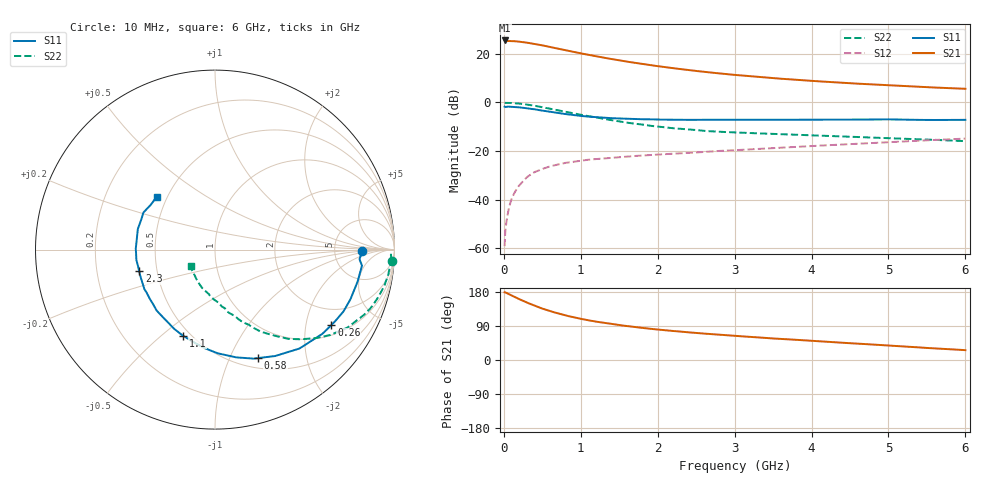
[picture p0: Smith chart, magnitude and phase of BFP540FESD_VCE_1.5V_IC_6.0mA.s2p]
! Infineon Technologies  Discrete & RF Semiconductors
! BFP540FESD
! VCE =  1.5 V,  IC =  6.0 mA
! Common Emitter S-Parameters:  Nov 2015
# GHz  S  MA  R  50
!  f  S11  S21  S12  S22
! GHz  MAG  ANG  MAG  ANG  MAG  ANG  MAG  ANG
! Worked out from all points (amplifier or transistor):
!   210 points, 10 MHz to 6 GHz, reference 50 ohm
!   highest |S21| = 25.5 dB at 10 MHz (marker M1)
!   |S21| within 3 dB of that: start of sweep to 647.4 MHz
!   unconditionally stable (mu >= 1): 2.543 GHz to end of sweep
!   at 185 MHz: K = 0.09, MSG = 29.9 dB, |S12| = -34.8 dB
!   at 1.52 GHz: K = 0.69, MSG = 19.9 dB, |S12| = -22.5 dB
!   at 6 GHz: K = 1.28, MAG = 7.1 dB, |S12| = -14.9 dB
!   S11 on the Smith chart (normalised r, x): 10 MHz: 10, -1; 260 MHz: 1.34, -2.80; 580 MHz: 0.61, -1.28; 1.1 GHz: 0.46, -0.59; 2.3 GHz: 0.40, -0.12; 6 GHz: 0.44, +0.32
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0.01  0.8215 -0.6  18.92 178.7  0.0011 89.3  0.9862 -3.6
0.02  0.8068 -3.8  18.26 178.3  0.0023 86.7  0.9806 -1.6
0.05  0.8238 -6.2  18.46 175.4  0.005 89.0  0.9813 -4.1
0.15  0.8039 -20.0  18.25 165.6  0.0149 80.2  0.9645 -12.2
0.2  0.7944 -25.7  17.84 160.6  0.0196 77.7  0.9474 -16.2
0.26  0.773 -33.0  17.38 155.3  0.0249 74.1  0.9255 -20.7
0.3  0.7603 -38.1  17.07 151.5  0.0289 71.9  0.9068 -23.6
0.4  0.7248 -49.5  16.07 143.2  0.0369 65.9  0.8569 -30.4
0.5  0.6812 -60.5  15.04 135.6  0.0427 61.6  0.7994 -36.5
0.58  0.6501 -68.4  14.09 130.2  0.0472 58.3  0.7545 -40.5
0.8  0.5781 -88.5  11.95 117.6  0.057 52.3  0.6424 -50.7
1.02  0.5247 -104.6  10.13 107.9  0.0639 48.1  0.5517 -58.1
1.1  0.5117 -110.5  9.577 104.7  0.0663 46.8  0.5231 -60.9
1.3  0.4838 -122.2  8.346 98.1  0.0707 44.8  0.4591 -65.8
1.5  0.4701 -133.8  7.357 92.1  0.0748 43.3  0.4088 -71.4
1.7  0.4548 -143.3  6.56 86.9  0.0791 42.0  0.3657 -76.8
2.02  0.4442 -155.8  5.547 80.0  0.0849 41.3  0.3164 -83.5
2.3  0.4391 -164.1  4.86 74.9  0.0899 40.7  0.2872 -88.6
3.1  0.4404 177.6  3.588 62.4  0.1062 39.7  0.2382 -102.6
4.1  0.4441 163.7  2.722 49.5  0.1291 38.0  0.2078 -115.7
5.1  0.4458 151.1  2.221 36.9  0.1552 33.7  0.1816 -129.1
6  0.4387 137.8  1.913 26.0  0.1804 28.6  0.1597 -145.6
